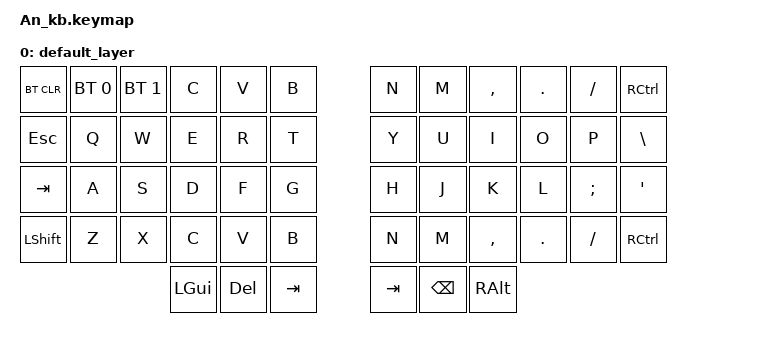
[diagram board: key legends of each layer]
#include <behaviors.dtsi>
#include <dt-bindings/zmk/keys.h>

/ {
    keymap {
        compatible = "zmk,keymap";

        default_layer {

            bindings = <
    &bt BT_CLR  &bt BT_SEL 0     &bt BT_SEL 1    &kp C     &kp V     &kp B                                                 &kp N     &kp M     &kp COMMA &kp DOT   &kp FSLH &kp RCTRL
    &kp ESC     &kp Q            &kp W           &kp E     &kp R     &kp T                                                 &kp Y     &kp U     &kp I     &kp O     &kp P    &kp BSLH
    &kp TAB     &kp A            &kp S           &kp D     &kp F     &kp G                                                 &kp H     &kp J     &kp K     &kp L     &kp SEMI &kp SQT
    &kp LSHIFT  &kp Z            &kp X           &kp C     &kp V     &kp B                                                 &kp N     &kp M     &kp COMMA &kp DOT   &kp FSLH &kp RCTRL
                                                 &kp LGUI  &kp DEL   &kp TAB                                               &kp TAB   &kp BSPC  &kp RALT
            >;

        };
    };
};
